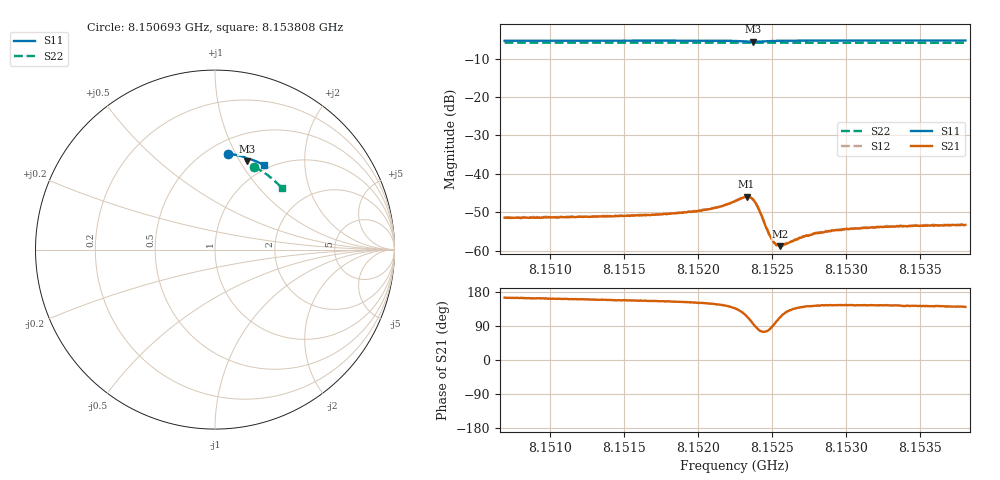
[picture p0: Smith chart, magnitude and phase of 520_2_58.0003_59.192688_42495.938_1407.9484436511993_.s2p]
#  HZ  S  RI  R  50.00
! Rohde & Schwarz Vector Network Analyzer
! Rohde-Schwarz,ZNB20-2Port,1311601062101988,3.16
! Created: UTC 3/21/2024, 1:13:39 AM
! freq[Hz]  re:S11  im:S11  re:S21  im:S21  re:S12  im:S12  re:S22  im:S22
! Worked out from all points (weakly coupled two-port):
!   401 points, 8.150693 GHz to 8.153808 GHz, reference 50 ohm
!   highest |S21| = -46.00 dB at 8.152328 GHz (marker M1); lowest = -58.9 dB at 8.152554 GHz (marker M2)
!   lowest |S11| = -5.6 dB at 8.152375 GHz (marker M3), VSWR 3.19, Z = 39.5 + j53.6 ohm
!   |S11| at or under -10 dB: nowhere
!   |S22| runs from -5.9 to -5.8 dB; largest |S21 - S12| = 0.00014
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8.1506926e9  0.0701 0.5345  -0.00258 0.000712  -0.00261 0.000751  0.217 0.4618
8.1512145e9  0.1063 0.5293  -0.00259 0.000907  -0.00259 0.000947  0.2465 0.446
8.1517363e9  0.1426 0.5213  -0.00267 0.00123  -0.00271 0.0013  0.2746 0.4283
8.15197e9  0.1594 0.5164  -0.00284 0.00153  -0.00284 0.00156  0.287 0.4196
8.1520635e9  0.1664 0.5139  -0.00296 0.00175  -0.00294 0.00177  0.292 0.4162
8.1521492e9  0.1731 0.5108  -0.0031 0.0021  -0.00309 0.00213  0.2962 0.4128
8.1522504e9  0.1812 0.5045  -0.00318 0.00303  -0.00319 0.00309  0.3014 0.4087
8.1523283e9  0.1831 0.4951  -0.0022 0.0045  -0.00215 0.00457  0.3049 0.4055
8.1523517e9  0.1808 0.4927  -0.00133 0.00473  -0.00129 0.00483  0.306 0.4046
8.1523751e9  0.1774 0.4921  -0.000349 0.00454  -0.000308 0.00459  0.307 0.4036
8.1524062e9  0.1743 0.4951  0.000562 0.00358  0.000617 0.00361  0.3083 0.4027
8.1524685e9  0.1773 0.5024  0.00043 0.00182  0.00047 0.00183  0.3116 0.4006
8.1524997e9  0.1806 0.504  7.95e-05 0.00139  0.000137 0.00139  0.3133 0.3993
8.1525153e9  0.1822 0.5044  -8.55e-05 0.00126  -8.35e-05 0.00126  0.3139 0.3987
8.1525308e9  0.1839 0.5047  -0.000244 0.00114  -0.000241 0.00116  0.3148 0.3981
8.1525542e9  0.1862 0.5048  -0.000427 0.00106  -0.000407 0.00108  0.316 0.3972
8.1525776e9  0.1885 0.5047  -0.000603 0.00101  -0.000583 0.00103  0.3172 0.3963
8.1527022e9  0.199 0.5028  -0.00113 0.000952  -0.00115 0.000977  0.3232 0.391
8.1527723e9  0.2044 0.5011  -0.00128 0.00098  -0.00127 0.00101  0.3266 0.3881
8.1529593e9  0.2176 0.4963  -0.00152 0.00106  -0.00151 0.0011  0.3354 0.3802
8.1532942e9  0.2396 0.487  -0.00166 0.00121  -0.00164 0.00125  0.3508 0.3654
8.1538083e9  0.2718 0.4709  -0.00166 0.00139  -0.00167 0.00137  0.3728 0.3416
